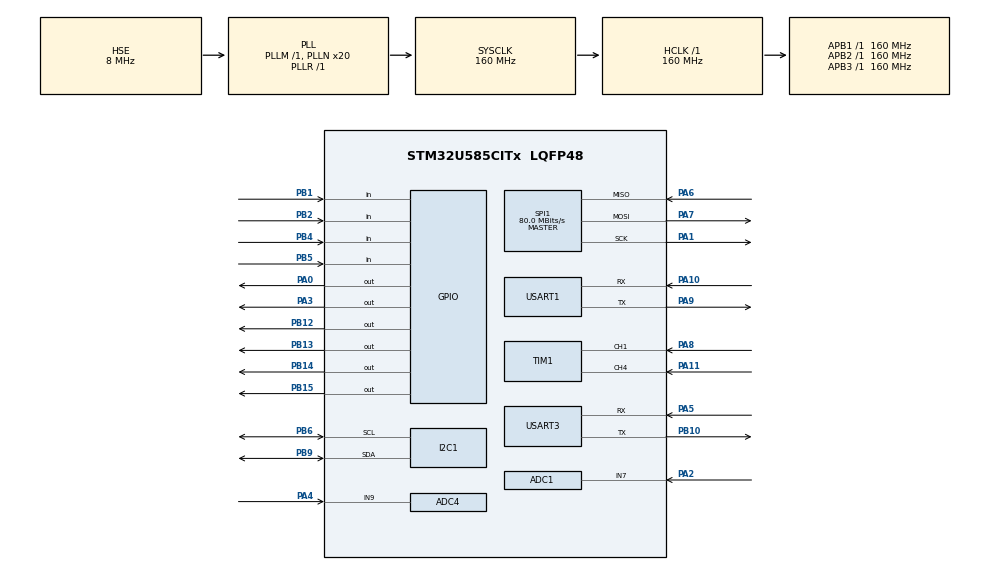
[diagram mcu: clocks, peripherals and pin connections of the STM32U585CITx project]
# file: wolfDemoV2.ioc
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ADC1.NbrOfConversion=1
ADC1.master=1
ADC4.NbrOfConversion=1
ADC4.NbrOfConversionFlag=0
ADC4.SelectedChannel=ADC_CHANNEL_9
CORTEX_M33_NS.MPU_Control=__NULL
CORTEX_M33_NS.userName=CORTEX_M33
I2C1.Timing=0x30909DEC
Mcu.Family=STM32U5
Mcu.Name=STM32U585CITx
Mcu.Package=LQFP48
NVIC.PriorityGroup=NVIC_PRIORITYGROUP_4
NVIC.TIM6_IRQn=true\:2\:0\:true\:false\:true\:true\:true\:true
PA0.Signal=GPIO_Output
PA1.Mode=Full_Duplex_Master
PA1.Signal=SPI1_SCK
PA10.Mode=Asynchronous
PA10.Signal=USART1_RX
PA11.Signal=S_TIM1_CH4
PA13\ (JTMS/SWDIO).Mode=JTAG_4_pins
PA13\ (JTMS/SWDIO).Signal=DEBUG_JTMS-SWDIO
PA14\ (JTCK/SWCLK).Mode=JTAG_4_pins
PA14\ (JTCK/SWCLK).Signal=DEBUG_JTCK-SWCLK
PA15\ (JTDI).Mode=JTAG_4_pins
PA15\ (JTDI).Signal=DEBUG_JTDI
PA2.Mode=IN7-Single-Ended
PA2.Signal=ADC1_IN7
PA3.Signal=GPIO_Output
PA4.Mode=IN9
PA4.Signal=ADC4_IN9
PA5.Mode=Asynchronous
PA5.Signal=USART3_RX
PA6.Mode=Full_Duplex_Master
PA6.Signal=SPI1_MISO
PA7.Mode=Full_Duplex_Master
PA7.Signal=SPI1_MOSI
PA8.Signal=S_TIM1_CH1
PA9.Mode=Asynchronous
PA9.Signal=USART1_TX
PB1.Signal=GPIO_Input
PB10.Mode=Asynchronous
PB10.Signal=USART3_TX
PB12.GPIO_Speed=GPIO_SPEED_FREQ_HIGH
PB12.Signal=GPIO_Output
PB13.GPIO_Speed=GPIO_SPEED_FREQ_HIGH
PB13.Signal=GPIO_Output
PB14.GPIO_Speed=GPIO_SPEED_FREQ_HIGH
PB14.Signal=GPIO_Output
PB15.GPIO_ModeDefaultOutputPP=GPIO_MODE_OUTPUT_PP
PB15.GPIO_PuPd=GPIO_NOPULL
PB15.GPIO_Speed=GPIO_SPEED_FREQ_HIGH
PB15.Signal=GPIO_Output
PB2.Signal=GPIO_Input
PB3\ (JTDO/TRACESWO).Mode=JTAG_4_pins
PB3\ (JTDO/TRACESWO).Signal=DEBUG_JTDO-SWO
PB4\ (NJTRST).Signal=GPIO_Input
PB5.Signal=GPIO_Input
PB6.Mode=I2C
PB6.Signal=I2C1_SCL
PB9.Mode=I2C
PB9.Signal=I2C1_SDA
PC14-OSC32_IN\ (PC14).Mode=LSE-External-Oscillator
PC14-OSC32_IN\ (PC14).Signal=RCC_OSC32_IN
PC15-OSC32_OUT\ (PC15).Mode=LSE-External-Oscillator
PC15-OSC32_OUT\ (PC15).Signal=RCC_OSC32_OUT
PH0-OSC_IN\ (PH0).Mode=HSE-External-Oscillator
PH0-OSC_IN\ (PH0).Signal=RCC_OSC_IN
PH1-OSC_OUT\ (PH1).Mode=HSE-External-Oscillator
PH1-OSC_OUT\ (PH1).Signal=RCC_OSC_OUT
ProjectManager.HeapSize=0x200
ProjectManager.StackSize=0x400
ProjectManager.TargetToolchain=STM32CubeIDE
RCC.ADCFreq_Value=16000000
RCC.AHBFreq_Value=160000000
RCC.APB1Freq_Value=160000000
RCC.APB1TimFreq_Value=160000000
RCC.APB2Freq_Value=160000000
RCC.APB2TimFreq_Value=160000000
RCC.APB3Freq_Value=160000000
RCC.CortexFreq_Value=160000000
RCC.EPOD_VALUE=8000000
RCC.HCLKFreq_Value=160000000
RCC.HSE_VALUE=8000000
RCC.HSI48_VALUE=48000000
RCC.HSI_VALUE=16000000
RCC.LSIDIV_VALUE=32000
RCC.MSIClockRange=RCC_MSIRANGE_0
RCC.MSI_VALUE=48000000
RCC.PLL1R=1
RCC.PLL2FRACN=0
RCC.PLL3FRACN=0
RCC.PLLFRACN=0
RCC.PLLN=20
RCC.PLLSourceVirtual=RCC_PLLSOURCE_HSE
RCC.SYSCLKFreq_VALUE=160000000
RCC.SYSCLKSource=RCC_SYSCLKSOURCE_PLLCLK
RCC.USBFreq_Value=48000000
RCC.VCOOutputFreq_Value=160000000
SH.S_TIM1_CH1.0=TIM1_CH1,Input_Capture1_from_TI1
SH.S_TIM1_CH4.0=TIM1_CH4,Input_Capture4_from_TI4
SPI1.CalculateBaudRate=80.0 MBits/s
SPI1.Direction=SPI_DIRECTION_2LINES
SPI1.Mode=SPI_MODE_MASTER
SPI1.VirtualType=VM_MASTER
TIM1.Channel-Input_Capture1_from_TI1=TIM_CHANNEL_1
TIM1.Channel-Input_Capture4_from_TI4=TIM_CHANNEL_4
TIM6.AutoReloadPreload=TIM_AUTORELOAD_PRELOAD_DISABLE
TIM6.PeriodNoDither=15
TIM6.Prescaler=159
TIM6.TIM_MasterOutputTrigger=TIM_TRGO_RESET
USART1.VirtualMode-Asynchronous=VM_ASYNC
USART3.VirtualMode-Asynchronous=VM_ASYNC
VP_DCACHE1_VS_DCACHE.Mode=DCACHE_Activate
VP_ICACHE_VS_ICACHE.Mode=DefaultMode
VP_LPBAMQUEUE_VS_QUEUE.Mode=QUEUEMODE
VP_LPBAM_VS_SIG1.Mode=SmartRun
VP_LPBAM_VS_SIG4.Mode=LPDMA1
VP_MEMORYMAP_VS_MEMORYMAP.Mode=CurAppReg
VP_PWR_VS_SECSignals.Mode=Security/Privilege
VP_PWR_Vdda.Mode=isolationVdda
VP_TIM6_VS_ClockSourceINT.Mode=Enable_Timer
board=custom

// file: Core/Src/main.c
/* USER CODE BEGIN Header */
/**
  ******************************************************************************
  * @file           : main.c
  * @brief          : Main program body
  ******************************************************************************
  * @attention
  *
  * Copyright (c) 2025 STMicroelectronics.
  * All rights reserved.
  *
  * This software is licensed under terms that can be found in the LICENSE file
  * in the root directory of this software component.
  * If no LICENSE file comes with this software, it is provided AS-IS.
  *
  ******************************************************************************
  */
/* USER CODE END Header */
#include "main.h"

/* USER CODE BEGIN Includes */
#include "stdbool.h"
/* USER CODE END Includes */

ADC_HandleTypeDef hadc1;
ADC_HandleTypeDef hadc4;

DCACHE_HandleTypeDef hdcache1;

I2C_HandleTypeDef hi2c1;

SPI_HandleTypeDef hspi1;

TIM_HandleTypeDef htim1;
TIM_HandleTypeDef htim6;

UART_HandleTypeDef huart1;
UART_HandleTypeDef huart3;

/* USER CODE BEGIN PV */
/* ---- Software-PWM parameters ----
   With 64 levels and a 1 kHz PWM frequency, we need a 64 kHz TIM6 update IRQ.
   That’s light CPU load and gives smooth fades.
*/
#define PWM_LEVELS        64u            // 6-bit PWM
#define PWM_FREQ_HZ       1000u          // visible PWM ~1 kHz (no flicker)
#define TIM6_TICK_HZ      (PWM_LEVELS * PWM_FREQ_HZ) // = 64 kHz

/* Fade sequencing: one LED at a time, fade up then down, then next LED */
#define FADE_STEP_PERIODS 2u             // brightness change every N PWM periods
#define BRIGHT_MAX        (PWM_LEVELS-1)

static volatile uint8_t  pwm_phase = 0;   // 0..(PWM_LEVELS-1)
static volatile uint16_t period_acc = 0;  // counts PWM periods for fade stepping
static volatile uint8_t  lead_led = 0;     // 0..3 (PB12..PB15)
static volatile uint8_t  trail_led = 3;    // previous LED (starts as 3 so 3->0 first)
static volatile uint8_t  cross = 0;        // 0..BRIGHT_MAX
static volatile uint8_t  bright[4] = {0,0,0,0}; // current brightness per LED
/* USER CODE END PV */

void SystemClock_Config(void);
static void MX_GPIO_Init(void);
static void MX_ADC1_Init(void);
static void MX_ADC4_Init(void);
static void MX_I2C1_Init(void);
static void MX_SPI1_Init(void);
static void MX_TIM1_Init(void);
static void MX_USART1_UART_Init(void);
static void MX_USART3_UART_Init(void);
static void MX_DCACHE1_Init(void);
static void MX_ICACHE_Init(void);
static void MX_TIM6_Init(void);
/* USER CODE BEGIN PFP */
static inline void LED_InitPins(void);
static inline void LED_Set(uint8_t idx, bool on);
static void        LED_ApplyPWM(void);
static void        LED_FadeStep(void);
/* USER CODE END PFP */

/* USER CODE BEGIN 0 */
static inline void LED_InitPins(void)
{
  /* If CubeMX already set PB12..PB15 as outputs, this is optional.
     Safe to call anyway. */
  GPIO_InitTypeDef gi = {0};
  __HAL_RCC_GPIOB_CLK_ENABLE();
  gi.Pin   = GPIO_PIN_12 | GPIO_PIN_13 | GPIO_PIN_14 | GPIO_PIN_15;
  gi.Mode  = GPIO_MODE_OUTPUT_PP;
  gi.Pull  = GPIO_NOPULL;
  gi.Speed = GPIO_SPEED_FREQ_LOW;
  HAL_GPIO_Init(GPIOB, &gi);

  HAL_GPIO_WritePin(GPIOB, GPIO_PIN_12 | GPIO_PIN_13 | GPIO_PIN_14 | GPIO_PIN_15, GPIO_PIN_RESET);
}

static inline void LED_Set(uint8_t idx, bool on)
{
  uint16_t pin;
  switch(idx) {
    case 0: pin = GPIO_PIN_12; break;
    case 1: pin = GPIO_PIN_13; break;
    case 2: pin = GPIO_PIN_14; break;
    default: pin = GPIO_PIN_15; break;
  }

  HAL_GPIO_WritePin(GPIOB, pin, on ? GPIO_PIN_SET : GPIO_PIN_RESET);
}

/* Called every TIM6 tick: keep as-is */
static void LED_ApplyPWM(void)
{
  uint8_t p = pwm_phase;

  for (uint8_t i = 0; i < 4; i++) {
    LED_Set(i, bright[i] > p);
  }

  p++;
  if (p >= PWM_LEVELS) {
    p = 0;
    if (++period_acc >= FADE_STEP_PERIODS) {
      period_acc = 0;
      LED_FadeStep();
    }
  }
  pwm_phase = p;
}

/* Cross-fade:
   - trail_led brightness = BRIGHT_MAX - cross (fading down)
   - lead_led  brightness = cross               (fading up)
   When cross reaches BRIGHT_MAX, advance to next LED and reset cross.
*/
static void LED_FadeStep(void)
{
  /* Update the two active LEDs */
  bright[lead_led]  = cross;
  bright[trail_led] = BRIGHT_MAX - cross;

  /* Others stay off */
  for (uint8_t i = 0; i < 4; i++) {
    if (i != lead_led && i != trail_led) bright[i] = 0;
  }

  /* Advance cross */
  if (cross < BRIGHT_MAX) {
    cross++;
  } else {
    /* Completed cross-fade: the lead becomes the new trail,
       pick the next LED as the new lead, reset cross */
    cross = 0;
    trail_led = lead_led;
    lead_led  = (uint8_t)((lead_led + 1) & 0x03);
  }
}
/* USER CODE END 0 */

int main(void)
{

  /* MCU Configuration--------------------------------------------------------*/

  /* Reset of all peripherals, Initializes the Flash interface and the Systick. */
  HAL_Init();

  /* Configure the system clock */
  SystemClock_Config();

  /* Initialize all configured peripherals */
  MX_GPIO_Init();
  MX_ADC1_Init();
  MX_ADC4_Init();
  MX_I2C1_Init();
  MX_SPI1_Init();
  MX_TIM1_Init();
  MX_USART1_UART_Init();
  MX_USART3_UART_Init();
  MX_DCACHE1_Init();
  MX_ICACHE_Init();
  MX_TIM6_Init();
  /* USER CODE BEGIN 2 */
  LED_InitPins();

  /* Start with LED 3 fading down and LED 0 fading up */
  lead_led  = 0;
  trail_led = 3;
  cross     = 0;
  bright[lead_led]  = cross;
  bright[trail_led] = BRIGHT_MAX - cross;
  for (uint8_t i = 0; i < 4; i++) {
    if (i != lead_led && i != trail_led) bright[i] = 0;
  }

  /* Start TIM6 update interrupt. Make sure TIM6 is configured to tick at TIM6_TICK_HZ (see settings below). */
  if (HAL_TIM_Base_Start_IT(&htim6) != HAL_OK) {
    Error_Handler();
  }
  /* USER CODE END 2 */

  /* Infinite loop */
  while (1)
  {

  }
}

void SystemClock_Config(void)
{
  RCC_OscInitTypeDef RCC_OscInitStruct = {0};
  RCC_ClkInitTypeDef RCC_ClkInitStruct = {0};

  /** Configure the main internal regulator output voltage
  */
  if (HAL_PWREx_ControlVoltageScaling(PWR_REGULATOR_VOLTAGE_SCALE1) != HAL_OK)
  {
    Error_Handler();
  }

  /** Initializes the CPU, AHB and APB buses clocks
  */
  RCC_OscInitStruct.OscillatorType = RCC_OSCILLATORTYPE_HSI|RCC_OSCILLATORTYPE_HSE;
  RCC_OscInitStruct.HSEState = RCC_HSE_ON;
  RCC_OscInitStruct.HSIState = RCC_HSI_ON;
  RCC_OscInitStruct.HSICalibrationValue = RCC_HSICALIBRATION_DEFAULT;
  RCC_OscInitStruct.PLL.PLLState = RCC_PLL_ON;
  RCC_OscInitStruct.PLL.PLLSource = RCC_PLLSOURCE_HSE;
  RCC_OscInitStruct.PLL.PLLMBOOST = RCC_PLLMBOOST_DIV1;
  RCC_OscInitStruct.PLL.PLLM = 1;
  RCC_OscInitStruct.PLL.PLLN = 20;
  RCC_OscInitStruct.PLL.PLLP = 2;
  RCC_OscInitStruct.PLL.PLLQ = 2;
  RCC_OscInitStruct.PLL.PLLR = 1;
  RCC_OscInitStruct.PLL.PLLRGE = RCC_PLLVCIRANGE_1;
  RCC_OscInitStruct.PLL.PLLFRACN = 0;
  if (HAL_RCC_OscConfig(&RCC_OscInitStruct) != HAL_OK)
  {
    Error_Handler();
  }

  /** Initializes the CPU, AHB and APB buses clocks
  */
  RCC_ClkInitStruct.ClockType = RCC_CLOCKTYPE_HCLK|RCC_CLOCKTYPE_SYSCLK
                              |RCC_CLOCKTYPE_PCLK1|RCC_CLOCKTYPE_PCLK2
                              |RCC_CLOCKTYPE_PCLK3;
  RCC_ClkInitStruct.SYSCLKSource = RCC_SYSCLKSOURCE_PLLCLK;
  RCC_ClkInitStruct.AHBCLKDivider = RCC_SYSCLK_DIV1;
  RCC_ClkInitStruct.APB1CLKDivider = RCC_HCLK_DIV1;
  RCC_ClkInitStruct.APB2CLKDivider = RCC_HCLK_DIV1;
  RCC_ClkInitStruct.APB3CLKDivider = RCC_HCLK_DIV1;

  if (HAL_RCC_ClockConfig(&RCC_ClkInitStruct, FLASH_LATENCY_4) != HAL_OK)
  {
    Error_Handler();
  }
}

static void MX_ADC1_Init(void)
{

  /** Common config
  */
  hadc1.Instance = ADC1;
  hadc1.Init.ClockPrescaler = ADC_CLOCK_ASYNC_DIV1;
  hadc1.Init.Resolution = ADC_RESOLUTION_14B;
  hadc1.Init.GainCompensation = 0;
  hadc1.Init.ScanConvMode = ADC_SCAN_DISABLE;
  hadc1.Init.EOCSelection = ADC_EOC_SINGLE_CONV;
  hadc1.Init.LowPowerAutoWait = DISABLE;
  hadc1.Init.ContinuousConvMode = DISABLE;
  hadc1.Init.NbrOfConversion = 1;
  hadc1.Init.DiscontinuousConvMode = DISABLE;
  hadc1.Init.DMAContinuousRequests = DISABLE;
  hadc1.Init.TriggerFrequencyMode = ADC_TRIGGER_FREQ_HIGH;
  hadc1.Init.Overrun = ADC_OVR_DATA_PRESERVED;
  hadc1.Init.LeftBitShift = ADC_LEFTBITSHIFT_NONE;
  hadc1.Init.ConversionDataManagement = ADC_CONVERSIONDATA_DR;
  hadc1.Init.OversamplingMode = DISABLE;
  if (HAL_ADC_Init(&hadc1) != HAL_OK)
  {
    Error_Handler();
  }

}

static void MX_ADC4_Init(void)
{

  /** Common config
  */
  hadc4.Instance = ADC4;
  hadc4.Init.ClockPrescaler = ADC_CLOCK_ASYNC_DIV1;
  hadc4.Init.Resolution = ADC_RESOLUTION_12B;
  hadc4.Init.DataAlign = ADC_DATAALIGN_RIGHT;
  hadc4.Init.ScanConvMode = ADC_SCAN_DIRECTION_FORWARD;
  hadc4.Init.EOCSelection = ADC_EOC_SINGLE_CONV;
  hadc4.Init.LowPowerAutoPowerOff = ADC_LOW_POWER_NONE;
  hadc4.Init.LowPowerAutoWait = DISABLE;
  hadc4.Init.ContinuousConvMode = DISABLE;
  hadc4.Init.NbrOfConversion = 1;
  hadc4.Init.DiscontinuousConvMode = DISABLE;
  hadc4.Init.ExternalTrigConv = ADC_SOFTWARE_START;
  hadc4.Init.ExternalTrigConvEdge = ADC_EXTERNALTRIGCONVEDGE_NONE;
  hadc4.Init.DMAContinuousRequests = DISABLE;
  hadc4.Init.TriggerFrequencyMode = ADC_TRIGGER_FREQ_LOW;
  hadc4.Init.Overrun = ADC_OVR_DATA_PRESERVED;
  hadc4.Init.SamplingTimeCommon1 = ADC4_SAMPLETIME_1CYCLE_5;
  hadc4.Init.SamplingTimeCommon2 = ADC4_SAMPLETIME_1CYCLE_5;
  hadc4.Init.OversamplingMode = DISABLE;
  if (HAL_ADC_Init(&hadc4) != HAL_OK)
  {
    Error_Handler();
  }

}

static void MX_DCACHE1_Init(void)
{

  hdcache1.Instance = DCACHE1;
  hdcache1.Init.ReadBurstType = DCACHE_READ_BURST_WRAP;
  if (HAL_DCACHE_Init(&hdcache1) != HAL_OK)
  {
    Error_Handler();
  }

}

static void MX_I2C1_Init(void)
{

  hi2c1.Instance = I2C1;
  hi2c1.Init.Timing = 0x30909DEC;
  hi2c1.Init.OwnAddress1 = 0;
  hi2c1.Init.AddressingMode = I2C_ADDRESSINGMODE_7BIT;
  hi2c1.Init.DualAddressMode = I2C_DUALADDRESS_DISABLE;
  hi2c1.Init.OwnAddress2 = 0;
  hi2c1.Init.OwnAddress2Masks = I2C_OA2_NOMASK;
  hi2c1.Init.GeneralCallMode = I2C_GENERALCALL_DISABLE;
  hi2c1.Init.NoStretchMode = I2C_NOSTRETCH_DISABLE;
  if (HAL_I2C_Init(&hi2c1) != HAL_OK)
  {
    Error_Handler();
  }

  /** Configure Analogue filter
  */
  if (HAL_I2CEx_ConfigAnalogFilter(&hi2c1, I2C_ANALOGFILTER_ENABLE) != HAL_OK)
  {
    Error_Handler();
  }

  /** Configure Digital filter
  */
  if (HAL_I2CEx_ConfigDigitalFilter(&hi2c1, 0) != HAL_OK)
  {
    Error_Handler();
  }

}

static void MX_ICACHE_Init(void)
{

  /** Enable instruction cache (default 2-ways set associative cache)
  */
  if (HAL_ICACHE_Enable() != HAL_OK)
  {
    Error_Handler();
  }

}

static void MX_SPI1_Init(void)
{

  SPI_AutonomousModeConfTypeDef HAL_SPI_AutonomousMode_Cfg_Struct = {0};

  /* SPI1 parameter configuration*/
  hspi1.Instance = SPI1;
  hspi1.Init.Mode = SPI_MODE_MASTER;
  hspi1.Init.Direction = SPI_DIRECTION_2LINES;
  hspi1.Init.DataSize = SPI_DATASIZE_4BIT;
  hspi1.Init.CLKPolarity = SPI_POLARITY_LOW;
  hspi1.Init.CLKPhase = SPI_PHASE_1EDGE;
  hspi1.Init.NSS = SPI_NSS_SOFT;
  hspi1.Init.BaudRatePrescaler = SPI_BAUDRATEPRESCALER_2;
  hspi1.Init.FirstBit = SPI_FIRSTBIT_MSB;
  hspi1.Init.TIMode = SPI_TIMODE_DISABLE;
  hspi1.Init.CRCCalculation = SPI_CRCCALCULATION_DISABLE;
  hspi1.Init.CRCPolynomial = 0x7;
  hspi1.Init.NSSPMode = SPI_NSS_PULSE_ENABLE;
  hspi1.Init.NSSPolarity = SPI_NSS_POLARITY_LOW;
  hspi1.Init.FifoThreshold = SPI_FIFO_THRESHOLD_01DATA;
  hspi1.Init.MasterSSIdleness = SPI_MASTER_SS_IDLENESS_00CYCLE;
  hspi1.Init.MasterInterDataIdleness = SPI_MASTER_INTERDATA_IDLENESS_00CYCLE;
  hspi1.Init.MasterReceiverAutoSusp = SPI_MASTER_RX_AUTOSUSP_DISABLE;
  hspi1.Init.MasterKeepIOState = SPI_MASTER_KEEP_IO_STATE_DISABLE;
  hspi1.Init.IOSwap = SPI_IO_SWAP_DISABLE;
  hspi1.Init.ReadyMasterManagement = SPI_RDY_MASTER_MANAGEMENT_INTERNALLY;
  hspi1.Init.ReadyPolarity = SPI_RDY_POLARITY_HIGH;
  if (HAL_SPI_Init(&hspi1) != HAL_OK)
  {
    Error_Handler();
  }
  HAL_SPI_AutonomousMode_Cfg_Struct.TriggerState = SPI_AUTO_MODE_DISABLE;
  HAL_SPI_AutonomousMode_Cfg_Struct.TriggerSelection = SPI_GRP1_GPDMA_CH0_TCF_TRG;
  HAL_SPI_AutonomousMode_Cfg_Struct.TriggerPolarity = SPI_TRIG_POLARITY_RISING;
  if (HAL_SPIEx_SetConfigAutonomousMode(&hspi1, &HAL_SPI_AutonomousMode_Cfg_Struct) != HAL_OK)
  {
    Error_Handler();
  }

}

static void MX_TIM1_Init(void)
{

  TIM_MasterConfigTypeDef sMasterConfig = {0};
  TIM_IC_InitTypeDef sConfigIC = {0};

  htim1.Instance = TIM1;
  htim1.Init.Prescaler = 0;
  htim1.Init.CounterMode = TIM_COUNTERMODE_UP;
  htim1.Init.Period = 65535;
  htim1.Init.ClockDivision = TIM_CLOCKDIVISION_DIV1;
  htim1.Init.RepetitionCounter = 0;
  htim1.Init.AutoReloadPreload = TIM_AUTORELOAD_PRELOAD_DISABLE;
  if (HAL_TIM_IC_Init(&htim1) != HAL_OK)
  {
    Error_Handler();
  }
  sMasterConfig.MasterOutputTrigger = TIM_TRGO_RESET;
  sMasterConfig.MasterOutputTrigger2 = TIM_TRGO2_RESET;
  sMasterConfig.MasterSlaveMode = TIM_MASTERSLAVEMODE_DISABLE;
  if (HAL_TIMEx_MasterConfigSynchronization(&htim1, &sMasterConfig) != HAL_OK)
  {
    Error_Handler();
  }
  sConfigIC.ICPolarity = TIM_INPUTCHANNELPOLARITY_RISING;
  sConfigIC.ICSelection = TIM_ICSELECTION_DIRECTTI;
  sConfigIC.ICPrescaler = TIM_ICPSC_DIV1;
  sConfigIC.ICFilter = 0;
  if (HAL_TIM_IC_ConfigChannel(&htim1, &sConfigIC, TIM_CHANNEL_1) != HAL_OK)
  {
    Error_Handler();
  }
  if (HAL_TIM_IC_ConfigChannel(&htim1, &sConfigIC, TIM_CHANNEL_4) != HAL_OK)
  {
    Error_Handler();
  }

}

static void MX_TIM6_Init(void)
{

  TIM_MasterConfigTypeDef sMasterConfig = {0};

  htim6.Instance = TIM6;
  htim6.Init.Prescaler = 159;
  htim6.Init.CounterMode = TIM_COUNTERMODE_UP;
  htim6.Init.Period = 15;
  htim6.Init.AutoReloadPreload = TIM_AUTORELOAD_PRELOAD_DISABLE;
  if (HAL_TIM_Base_Init(&htim6) != HAL_OK)
  {
    Error_Handler();
  }
  sMasterConfig.MasterOutputTrigger = TIM_TRGO_RESET;
  sMasterConfig.MasterSlaveMode = TIM_MASTERSLAVEMODE_DISABLE;
  if (HAL_TIMEx_MasterConfigSynchronization(&htim6, &sMasterConfig) != HAL_OK)
  {
    Error_Handler();
  }

}

static void MX_USART1_UART_Init(void)
{

  huart1.Instance = USART1;
  huart1.Init.BaudRate = 115200;
  huart1.Init.WordLength = UART_WORDLENGTH_8B;
  huart1.Init.StopBits = UART_STOPBITS_1;
  huart1.Init.Parity = UART_PARITY_NONE;
  huart1.Init.Mode = UART_MODE_TX_RX;
  huart1.Init.HwFlowCtl = UART_HWCONTROL_NONE;
  huart1.Init.OverSampling = UART_OVERSAMPLING_16;
  huart1.Init.OneBitSampling = UART_ONE_BIT_SAMPLE_DISABLE;
  huart1.Init.ClockPrescaler = UART_PRESCALER_DIV1;
  huart1.AdvancedInit.AdvFeatureInit = UART_ADVFEATURE_NO_INIT;
  if (HAL_UART_Init(&huart1) != HAL_OK)
  {
    Error_Handler();
  }
  if (HAL_UARTEx_SetTxFifoThreshold(&huart1, UART_TXFIFO_THRESHOLD_1_8) != HAL_OK)
  {
    Error_Handler();
  }
  if (HAL_UARTEx_SetRxFifoThreshold(&huart1, UART_RXFIFO_THRESHOLD_1_8) != HAL_OK)
  {
    Error_Handler();
  }
  if (HAL_UARTEx_DisableFifoMode(&huart1) != HAL_OK)
  {
    Error_Handler();
  }

}

static void MX_USART3_UART_Init(void)
{

  huart3.Instance = USART3;
  huart3.Init.BaudRate = 115200;
  huart3.Init.WordLength = UART_WORDLENGTH_8B;
  huart3.Init.StopBits = UART_STOPBITS_1;
  huart3.Init.Parity = UART_PARITY_NONE;
  huart3.Init.Mode = UART_MODE_TX_RX;
  huart3.Init.HwFlowCtl = UART_HWCONTROL_NONE;
  huart3.Init.OverSampling = UART_OVERSAMPLING_16;
  huart3.Init.OneBitSampling = UART_ONE_BIT_SAMPLE_DISABLE;
  huart3.Init.ClockPrescaler = UART_PRESCALER_DIV1;
  huart3.AdvancedInit.AdvFeatureInit = UART_ADVFEATURE_NO_INIT;
  if (HAL_UART_Init(&huart3) != HAL_OK)
  {
    Error_Handler();
  }
  if (HAL_UARTEx_SetTxFifoThreshold(&huart3, UART_TXFIFO_THRESHOLD_1_8) != HAL_OK)
  {
    Error_Handler();
  }
  if (HAL_UARTEx_SetRxFifoThreshold(&huart3, UART_RXFIFO_THRESHOLD_1_8) != HAL_OK)
  {
    Error_Handler();
  }
  if (HAL_UARTEx_DisableFifoMode(&huart3) != HAL_OK)
  {
    Error_Handler();
  }

}

static void MX_GPIO_Init(void)
{
  GPIO_InitTypeDef GPIO_InitStruct = {0};

  /* GPIO Ports Clock Enable */
  __HAL_RCC_GPIOC_CLK_ENABLE();
  __HAL_RCC_GPIOH_CLK_ENABLE();
  __HAL_RCC_GPIOA_CLK_ENABLE();
  __HAL_RCC_GPIOB_CLK_ENABLE();

  /*Configure GPIO pin Output Level */
  HAL_GPIO_WritePin(GPIOA, GPIO_PIN_0|GPIO_PIN_3, GPIO_PIN_RESET);

  /*Configure GPIO pin Output Level */
  HAL_GPIO_WritePin(GPIOB, GPIO_PIN_12|GPIO_PIN_13|GPIO_PIN_14|GPIO_PIN_15, GPIO_PIN_RESET);

  /*Configure GPIO pins : PA0 PA3 */
  GPIO_InitStruct.Pin = GPIO_PIN_0|GPIO_PIN_3;
  GPIO_InitStruct.Mode = GPIO_MODE_OUTPUT_PP;
  GPIO_InitStruct.Pull = GPIO_NOPULL;
  GPIO_InitStruct.Speed = GPIO_SPEED_FREQ_LOW;
  HAL_GPIO_Init(GPIOA, &GPIO_InitStruct);

  /*Configure GPIO pins : PB1 PB2 PB4 PB5 */
  GPIO_InitStruct.Pin = GPIO_PIN_1|GPIO_PIN_2|GPIO_PIN_4|GPIO_PIN_5;
  GPIO_InitStruct.Mode = GPIO_MODE_INPUT;
  GPIO_InitStruct.Pull = GPIO_NOPULL;
  HAL_GPIO_Init(GPIOB, &GPIO_InitStruct);

  /*Configure GPIO pins : PB12 PB13 PB14 PB15 */
  GPIO_InitStruct.Pin = GPIO_PIN_12|GPIO_PIN_13|GPIO_PIN_14|GPIO_PIN_15;
  GPIO_InitStruct.Mode = GPIO_MODE_OUTPUT_PP;
  GPIO_InitStruct.Pull = GPIO_NOPULL;
  GPIO_InitStruct.Speed = GPIO_SPEED_FREQ_HIGH;
  HAL_GPIO_Init(GPIOB, &GPIO_InitStruct);

}

/* USER CODE BEGIN 4 */
void HAL_TIM_PeriodElapsedCallback(TIM_HandleTypeDef *htim)
{
  if (htim->Instance == TIM6) {
    LED_ApplyPWM();
  }
}
/* USER CODE END 4 */

void Error_Handler(void)
{
  __disable_irq();
  while (1)
  {
  }
}
